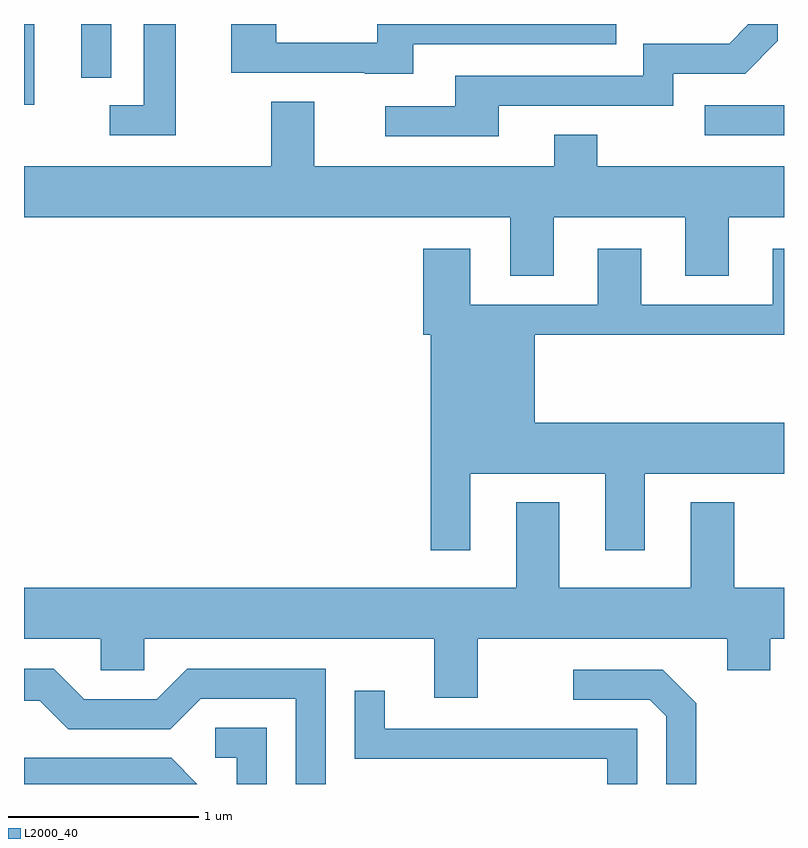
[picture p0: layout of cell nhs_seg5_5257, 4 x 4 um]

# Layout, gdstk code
import gdstk
lib = gdstk.Library(unit=1e-6, precision=1e-09)
def R(c, l, rs):  # rectangles x0, y0, x1, y1
    for r in rs: c.add(gdstk.rectangle(r[:2], r[2:], *l))
def P(c, l, *ps):  # polygons
    for p in ps: c.add(gdstk.Polygon(p, *l))
L2000_40 = (2000, 40)

nhs_seg5_5257 = lib.new_cell('nhs_seg5_5257')
R(nhs_seg5_5257, L2000_40, [(345.193,1419.486,345.611,1419.644), (341.611,1419.646,341.664,1420.072), (341.911,1419.788,342.069,1420.072)])
P(nhs_seg5_5257, L2000_40, [(343.659,1419.966),(344.728,1419.966),(344.728,1420.072),(343.471,1420.072),(343.471,1419.974),(342.939,1419.974),(342.939,1420.072),(342.701,1420.072),(342.701,1419.816),(343.405,1419.816),(343.405,1419.811),(343.659,1419.811)],
  [(344.109,1419.641),(345.029,1419.641),(345.029,1419.811),(345.407,1419.811),(345.579,1419.984),(345.579,1420.072),(345.421,1420.072),(345.421,1420.067),(345.324,1419.969),(344.871,1419.969),(344.871,1419.799),(343.881,1419.799),(343.881,1419.639),(343.513,1419.639),(343.513,1419.481),(344.109,1419.481)],
  [(342.409,1420.072),(342.241,1420.072),(342.241,1419.644),(342.063,1419.644),(342.063,1419.486),(342.409,1419.486)],
  [(344.399,1419.056),(345.091,1419.056),(345.091,1418.746),(345.319,1418.746),(345.319,1419.056),(345.611,1419.056),(345.611,1419.324),(344.629,1419.324),(344.629,1419.489),(344.401,1419.489),(344.401,1419.324),(343.139,1419.324),(343.139,1419.664),(342.911,1419.664),(342.911,1419.324),(341.611,1419.324),(341.611,1419.056),(344.171,1419.056),(344.171,1418.746),(344.399,1418.746)],
  [(343.959,1417.706),(344.671,1417.706),(344.671,1417.301),(344.879,1417.301),(344.879,1417.706),(345.611,1417.706),(345.611,1417.974),(344.299,1417.974),(344.299,1418.436),(345.611,1418.436),(345.611,1418.889),(345.551,1418.889),(345.551,1418.594),(344.859,1418.594),(344.859,1418.889),(344.631,1418.889),(344.631,1418.594),(343.959,1418.594),(343.959,1418.889),(343.711,1418.889),(343.711,1418.436),(343.751,1418.436),(343.751,1417.301),(343.959,1417.301)],
  [(343.999,1416.836),(345.311,1416.836),(345.311,1416.671),(345.539,1416.671),(345.539,1416.836),(345.611,1416.836),(345.611,1417.104),(345.349,1417.104),(345.349,1417.554),(345.121,1417.554),(345.121,1417.104),(344.429,1417.104),(344.429,1417.554),(344.201,1417.554),(344.201,1417.104),(341.611,1417.104),(341.611,1416.836),(342.016,1416.836),(342.016,1416.671),(342.244,1416.671),(342.244,1416.836),(343.771,1416.836),(343.771,1416.526),(343.999,1416.526)],
  [(343.199,1416.679),(342.469,1416.679),(342.309,1416.519),(341.927,1416.519),(341.767,1416.679),(341.611,1416.679),(341.611,1416.511),(341.694,1416.511),(341.844,1416.361),(342.382,1416.361),(342.542,1416.521),(343.041,1416.521),(343.041,1416.072),(343.199,1416.072)],
  [(345.149,1416.497),(344.972,1416.674),(344.503,1416.674),(344.503,1416.516),(344.904,1416.516),(344.991,1416.429),(344.991,1416.072),(345.149,1416.072)],
  [(344.839,1416.364),(343.509,1416.364),(343.509,1416.563),(343.351,1416.563),(343.351,1416.206),(344.681,1416.206),(344.681,1416.072),(344.839,1416.072)],
  [(342.889,1416.369),(342.618,1416.369),(342.618,1416.211),(342.731,1416.211),(342.731,1416.072),(342.889,1416.072)],
  [(342.387,1416.209),(341.611,1416.209),(341.611,1416.072),(342.524,1416.072)])

lib.write_gds('nhs_seg5_5257.gds')
